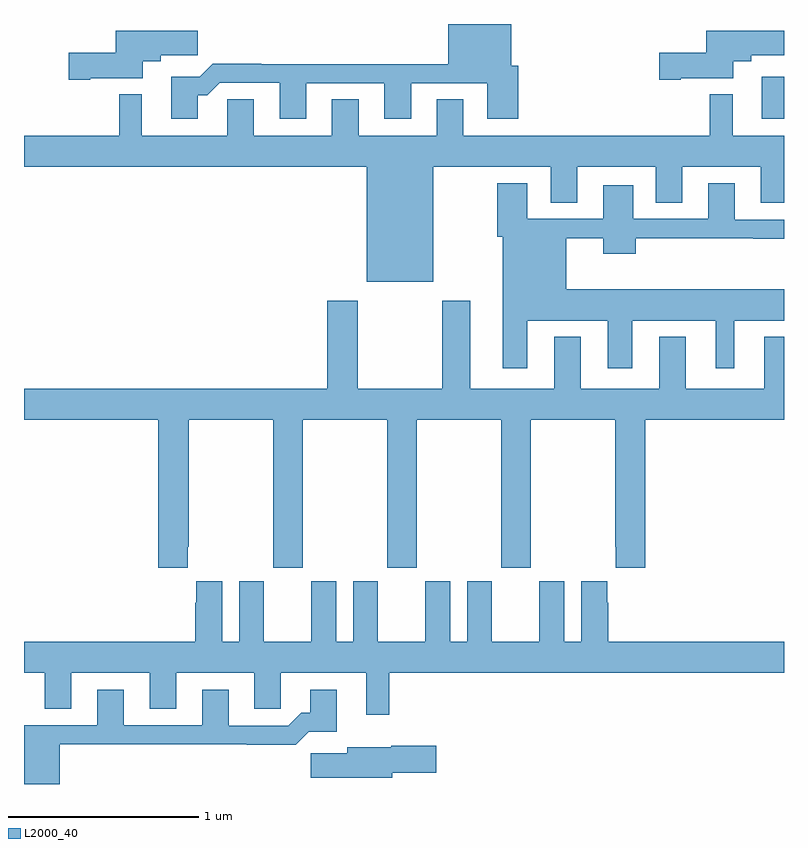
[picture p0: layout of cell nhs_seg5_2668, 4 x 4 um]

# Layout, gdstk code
import gdstk
lib = gdstk.Library(unit=1e-6, precision=1e-09)
def R(c, l, rs):  # rectangles x0, y0, x1, y1
    for r in rs: c.add(gdstk.rectangle(r[:2], r[2:], *l))
def P(c, l, *ps):  # polygons
    for p in ps: c.add(gdstk.Polygon(p, *l))
L2000_40 = (2000, 40)

nhs_seg5_2668 = lib.new_cell('nhs_seg5_2668')
R(nhs_seg5_2668, L2000_40, [(268.883,902.301,269,902.521)])
P(nhs_seg5_2668, L2000_40, [(265.915,902.423),(265.964,902.423),(266.031,902.49),(266.345,902.49),(266.345,902.301),(266.485,902.301),(266.485,902.487),(266.897,902.487),(266.897,902.301),(267.037,902.301),(267.037,902.487),(267.437,902.487),(267.437,902.301),(267.602,902.301),(267.602,902.58),(267.565,902.58),(267.565,902.799),(267.233,902.799),(267.233,902.588),(266.249,902.588),(266.249,902.591),(265.994,902.591),(265.924,902.521),(265.775,902.521),(265.775,902.301),(265.915,902.301)],
  [(265.348,902.513),(265.624,902.513),(265.624,902.603),(265.72,902.603),(265.72,902.635),(265.915,902.635),(265.915,902.764),(265.484,902.764),(265.484,902.648),(265.236,902.648),(265.236,902.506),(265.348,902.506)],
  [(268.456,902.513),(268.732,902.513),(268.732,902.603),(268.828,902.603),(268.828,902.635),(269,902.635),(269,902.764),(268.592,902.764),(268.592,902.648),(268.344,902.648),(268.344,902.506),(268.456,902.506)],
  [(267.154,902.048),(267.773,902.048),(267.773,901.858),(267.913,901.858),(267.913,902.048),(268.325,902.048),(268.325,901.858),(268.465,901.858),(268.465,902.048),(268.877,902.048),(268.877,901.858),(269,901.858),(269,902.212),(268.729,902.212),(268.729,902.428),(268.608,902.428),(268.608,902.212),(267.313,902.212),(267.313,902.402),(267.173,902.402),(267.173,902.212),(266.761,902.212),(266.761,902.402),(266.621,902.402),(266.621,902.212),(266.209,902.212),(266.209,902.402),(266.07,902.402),(266.07,902.212),(265.621,902.212),(265.621,902.428),(265.5,902.428),(265.5,902.212),(265,902.212),(265,902.048),(266.804,902.048),(266.804,901.442),(267.154,901.442)],
  [(267.649,901.238),(268.073,901.238),(268.073,900.987),(268.201,900.987),(268.201,901.238),(268.64,901.238),(268.64,900.987),(268.738,900.987),(268.738,901.238),(269,901.238),(269,901.402),(267.853,901.402),(267.853,901.672),(268.049,901.672),(268.049,901.589),(268.22,901.589),(268.22,901.672),(268.837,901.672),(268.837,901.67),(269,901.67),(269,901.77),(268.741,901.77),(268.741,901.96),(268.601,901.96),(268.601,901.773),(268.207,901.773),(268.207,901.951),(268.049,901.951),(268.049,901.773),(267.649,901.773),(267.649,901.96),(267.49,901.96),(267.49,901.68),(267.521,901.68),(267.521,900.987),(267.649,900.987)],
  [(265,900.716),(265.706,900.716),(265.706,899.937),(265.861,899.937),(265.861,900.049),(265.866,900.049),(265.866,900.716),(266.311,900.716),(266.311,899.937),(266.466,899.937),(266.466,900.716),(266.911,900.716),(266.911,899.937),(267.066,899.937),(267.066,900.716),(267.511,900.716),(267.511,899.937),(267.666,899.937),(267.666,900.716),(268.111,900.716),(268.111,900.049),(268.115,900.049),(268.115,899.937),(268.271,899.937),(268.271,900.716),(269,900.716),(269,901.153),(268.895,901.153),(268.895,900.88),(268.483,900.88),(268.483,901.153),(268.343,901.153),(268.343,900.88),(267.931,900.88),(267.931,901.153),(267.791,901.153),(267.791,900.88),(267.349,900.88),(267.349,901.342),(267.202,901.342),(267.202,900.88),(266.757,900.88),(266.757,901.342),(266.597,901.342),(266.597,900.88),(265,900.88)],
  [(266.863,899.866),(266.732,899.866),(266.732,899.548),(266.644,899.548),(266.644,899.866),(266.513,899.866),(266.513,899.548),(266.263,899.548),(266.263,899.866),(266.132,899.866),(266.132,899.548),(266.044,899.548),(266.044,899.866),(265.907,899.866),(265.907,899.753),(265.901,899.753),(265.901,899.548),(265,899.548),(265,899.384),(265.109,899.384),(265.109,899.194),(265.249,899.194),(265.249,899.384),(265.661,899.384),(265.661,899.194),(265.801,899.194),(265.801,899.384),(266.213,899.384),(266.213,899.194),(266.352,899.194),(266.352,899.384),(266.801,899.384),(266.801,899.163),(266.923,899.163),(266.923,899.384),(269,899.384),(269,899.548),(268.076,899.548),(268.076,899.753),(268.069,899.753),(268.069,899.866),(267.932,899.866),(267.932,899.548),(267.844,899.548),(267.844,899.866),(267.713,899.866),(267.713,899.548),(267.463,899.548),(267.463,899.866),(267.332,899.866),(267.332,899.548),(267.244,899.548),(267.244,899.866),(267.113,899.866),(267.113,899.548),(266.863,899.548)],
  [(265.189,899.008),(266.173,899.008),(266.173,899.006),(266.429,899.006),(266.498,899.075),(266.647,899.075),(266.647,899.296),(266.507,899.296),(266.507,899.173),(266.458,899.173),(266.391,899.106),(266.077,899.106),(266.077,899.296),(265.937,899.296),(265.937,899.109),(265.525,899.109),(265.525,899.296),(265.385,899.296),(265.385,899.109),(265,899.109),(265,898.799),(265.189,898.799)],
  [(266.938,898.859),(267.169,898.859),(267.169,899.001),(266.934,899.001),(266.934,898.993),(266.702,898.993),(266.702,898.961),(266.508,898.961),(266.508,898.832),(266.938,898.832)])

lib.write_gds('nhs_seg5_2668.gds')
